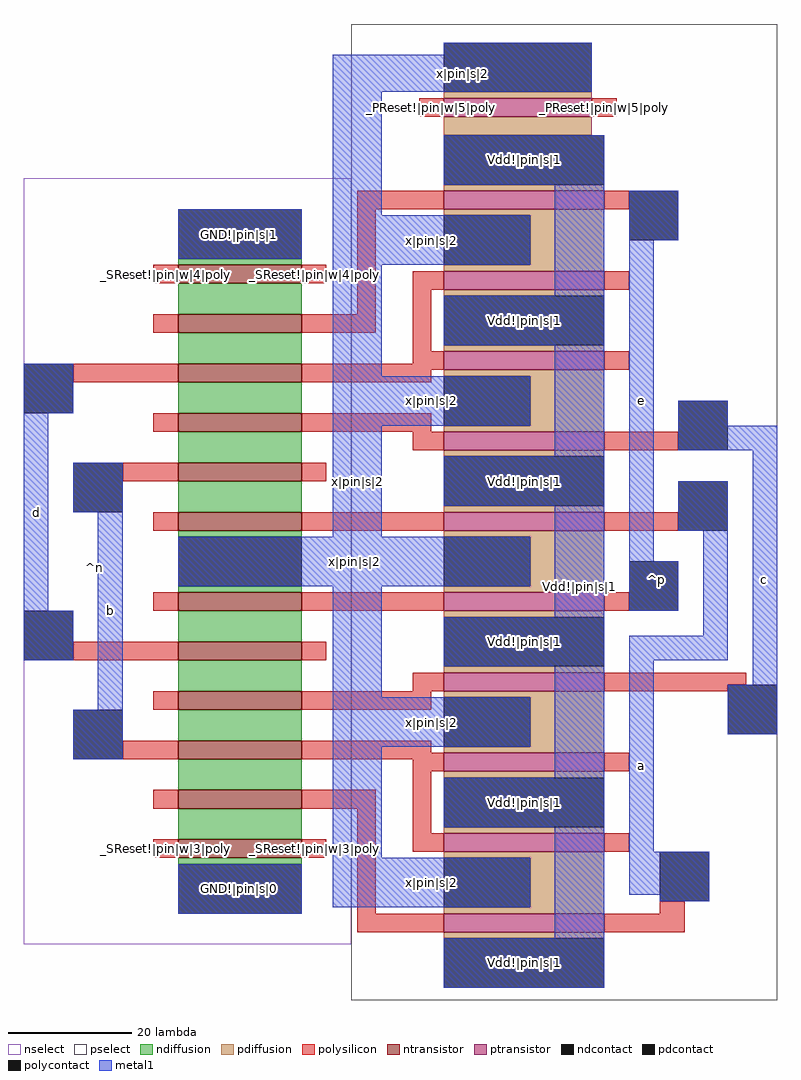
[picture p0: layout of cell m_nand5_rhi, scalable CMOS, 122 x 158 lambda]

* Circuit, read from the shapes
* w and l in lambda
.subckt m_nand5_rhi GND!|pin|s|0 GND!|pin|s|1 Vdd!|pin|s|1 _PReset!|pin|w|5|poly _SReset!|pin|w|3|poly _SReset!|pin|w|4|poly a b c d e x|pin|s|2
M1 n1 _SReset!|pin|w|3|poly GND!|pin|s|0 VSUBS nfet w=20 l=3
M2 n2 a n1 VSUBS nfet w=20 l=3
M3 n3 b n2 VSUBS nfet w=20 l=3
M4 n4 c n3 VSUBS nfet w=20 l=3
M5 n5 d n4 VSUBS nfet w=20 l=3
M6 x|pin|s|2 e n5 VSUBS nfet w=20 l=3
M7 n6 a x|pin|s|2 VSUBS nfet w=20 l=3
M8 n7 b n6 VSUBS nfet w=20 l=3
M9 n8 c n7 VSUBS nfet w=20 l=3
M10 n9 d n8 VSUBS nfet w=20 l=3
M11 n10 e n9 VSUBS nfet w=20 l=3
M12 GND!|pin|s|1 _SReset!|pin|w|4|poly n10 VSUBS nfet w=20 l=3
M13 x|pin|s|2 a Vdd!|pin|s|1 NWELL pfet w=26 l=3 m=2
M14 Vdd!|pin|s|1 b x|pin|s|2 NWELL pfet w=26 l=3 m=2
M15 Vdd!|pin|s|1 c x|pin|s|2 NWELL pfet w=26 l=3 m=2
M16 x|pin|s|2 e Vdd!|pin|s|1 NWELL pfet w=26 l=3 m=2
M17 Vdd!|pin|s|1 d x|pin|s|2 NWELL pfet w=26 l=3 m=2
M18 x|pin|s|2 _PReset!|pin|w|5|poly Vdd!|pin|s|1 NWELL pfet w=24 l=3
.ends

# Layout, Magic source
magic
tech scmos
<< nselect >>
rect -53 -850 0 -726
<< pselect >>
rect 0 -859 69 -701
<< ndiffusion >>
rect -28 -740 -8 -739
rect -28 -748 -8 -743
rect -28 -756 -8 -751
rect -28 -764 -8 -759
rect -28 -772 -8 -767
rect -28 -780 -8 -775
rect -28 -784 -8 -783
rect -28 -793 -8 -792
rect -28 -801 -8 -796
rect -28 -809 -8 -804
rect -28 -817 -8 -812
rect -28 -825 -8 -820
rect -28 -833 -8 -828
rect -28 -837 -8 -836
<< pdiffusion >>
rect 15 -713 39 -712
rect 15 -719 39 -716
rect 15 -728 41 -727
rect 15 -732 41 -731
rect 29 -740 41 -732
rect 15 -741 41 -740
rect 15 -745 41 -744
rect 15 -754 41 -753
rect 15 -758 41 -757
rect 29 -766 41 -758
rect 15 -767 41 -766
rect 15 -771 41 -770
rect 15 -780 41 -779
rect 15 -784 41 -783
rect 29 -792 41 -784
rect 15 -793 41 -792
rect 15 -797 41 -796
rect 15 -806 41 -805
rect 15 -810 41 -809
rect 29 -818 41 -810
rect 15 -819 41 -818
rect 15 -823 41 -822
rect 15 -832 41 -831
rect 15 -836 41 -835
rect 29 -844 41 -836
rect 15 -845 41 -844
rect 15 -849 41 -848
<< ntransistor >>
rect -28 -743 -8 -740
rect -28 -751 -8 -748
rect -28 -759 -8 -756
rect -28 -767 -8 -764
rect -28 -775 -8 -772
rect -28 -783 -8 -780
rect -28 -796 -8 -793
rect -28 -804 -8 -801
rect -28 -812 -8 -809
rect -28 -820 -8 -817
rect -28 -828 -8 -825
rect -28 -836 -8 -833
<< ptransistor >>
rect 15 -716 39 -713
rect 15 -731 41 -728
rect 15 -744 41 -741
rect 15 -757 41 -754
rect 15 -770 41 -767
rect 15 -783 41 -780
rect 15 -796 41 -793
rect 15 -809 41 -806
rect 15 -822 41 -819
rect 15 -835 41 -832
rect 15 -848 41 -845
<< polysilicon >>
rect 11 -716 15 -713
rect 39 -716 43 -713
rect 1 -731 15 -728
rect 41 -731 45 -728
rect -32 -743 -28 -740
rect -8 -743 -4 -740
rect 1 -748 4 -731
rect -32 -751 -28 -748
rect -8 -751 4 -748
rect 10 -744 15 -741
rect 41 -744 45 -741
rect 10 -754 13 -744
rect 10 -756 15 -754
rect -45 -759 -28 -756
rect -8 -757 15 -756
rect 41 -757 45 -754
rect -8 -759 13 -757
rect -32 -767 -28 -764
rect -8 -767 13 -764
rect 10 -770 15 -767
rect 41 -770 53 -767
rect -37 -775 -28 -772
rect -8 -775 -4 -772
rect -32 -783 -28 -780
rect -8 -783 15 -780
rect 41 -783 53 -780
rect -32 -796 -28 -793
rect -8 -796 15 -793
rect 41 -796 45 -793
rect -45 -804 -28 -801
rect -8 -804 -4 -801
rect 10 -809 15 -806
rect 41 -808 64 -806
rect 41 -809 61 -808
rect -32 -812 -28 -809
rect -8 -812 13 -809
rect -37 -820 -28 -817
rect -8 -819 13 -817
rect -8 -820 15 -819
rect 10 -822 15 -820
rect 41 -822 45 -819
rect -32 -828 -28 -825
rect -8 -828 4 -825
rect -32 -836 -28 -833
rect -8 -836 -4 -833
rect 1 -845 4 -828
rect 10 -832 13 -822
rect 10 -835 15 -832
rect 41 -835 45 -832
rect 50 -845 54 -843
rect 1 -848 15 -845
rect 41 -848 54 -845
<< ndcontact >>
rect -28 -739 -8 -731
rect -28 -792 -8 -784
rect -28 -845 -8 -837
<< pdcontact >>
rect 15 -712 39 -704
rect 15 -727 41 -719
rect 15 -740 29 -732
rect 15 -753 41 -745
rect 15 -766 29 -758
rect 15 -779 41 -771
rect 15 -792 29 -784
rect 15 -805 41 -797
rect 15 -818 29 -810
rect 15 -831 41 -823
rect 15 -844 29 -836
rect 15 -857 41 -849
<< polycontact >>
rect 45 -736 53 -728
rect -53 -764 -45 -756
rect 53 -770 61 -762
rect -45 -780 -37 -772
rect 53 -783 61 -775
rect 45 -796 53 -788
rect -53 -804 -45 -796
rect -45 -820 -37 -812
rect 61 -816 69 -808
rect 50 -843 58 -835
<< metal1 >>
rect 15 -706 39 -704
rect -3 -712 39 -706
rect -28 -739 -8 -731
rect -3 -732 5 -712
rect 15 -727 41 -719
rect -3 -740 29 -732
rect -53 -764 -45 -756
rect -3 -758 5 -740
rect 33 -745 41 -727
rect 15 -753 41 -745
rect -53 -796 -49 -764
rect -3 -766 29 -758
rect -45 -780 -37 -772
rect -53 -804 -45 -796
rect -41 -812 -37 -780
rect -3 -784 5 -766
rect 33 -771 41 -753
rect 15 -779 41 -771
rect -28 -792 29 -784
rect -45 -820 -37 -812
rect -3 -810 5 -792
rect 33 -797 41 -779
rect 45 -736 53 -728
rect 45 -788 49 -736
rect 53 -766 61 -762
rect 53 -770 69 -766
rect 53 -783 61 -775
rect 45 -796 53 -788
rect 15 -805 41 -797
rect 57 -800 61 -783
rect -3 -818 29 -810
rect -3 -836 5 -818
rect 33 -823 41 -805
rect 15 -831 41 -823
rect -28 -845 -8 -837
rect -3 -844 29 -836
rect 33 -849 41 -831
rect 45 -804 61 -800
rect 45 -835 49 -804
rect 65 -808 69 -770
rect 61 -816 69 -808
rect 45 -842 58 -835
rect 50 -843 58 -842
rect 15 -857 41 -849
<< labels >>
rlabel metal1 45 -796 49 -728 1 e
rlabel metal1 65 -816 69 -766 1 c
rlabel metal1 45 -842 49 -800 1 a
rlabel metal1 -53 -804 -49 -756 3 d
rlabel metal1 -41 -820 -37 -772 1 b
rlabel space -55 -858 -28 -720 7 ^n
rlabel space 29 -859 70 -723 3 ^p
rlabel metal1 -28 -845 -8 -837 1 GND!|pin|s|0
rlabel metal1 15 -753 41 -745 1 Vdd!|pin|s|1
rlabel metal1 15 -831 41 -823 1 Vdd!|pin|s|1
rlabel metal1 -3 -844 5 -706 1 x|pin|s|2
rlabel metal1 -3 -844 29 -836 1 x|pin|s|2
rlabel metal1 -3 -766 29 -758 1 x|pin|s|2
rlabel metal1 -3 -818 29 -810 1 x|pin|s|2
rlabel metal1 -3 -740 29 -732 1 x|pin|s|2
rlabel metal1 -3 -712 39 -706 1 x|pin|s|2
rlabel metal1 -28 -792 29 -784 1 x|pin|s|2
rlabel polysilicon -32 -836 -28 -833 1 _SReset!|pin|w|3|poly
rlabel polysilicon -8 -836 -4 -833 1 _SReset!|pin|w|3|poly
rlabel polysilicon -32 -743 -28 -740 1 _SReset!|pin|w|4|poly
rlabel polysilicon -8 -743 -4 -740 1 _SReset!|pin|w|4|poly
rlabel polysilicon 11 -716 15 -713 1 _PReset!|pin|w|5|poly
rlabel polysilicon 39 -716 43 -713 1 _PReset!|pin|w|5|poly
rlabel metal1 33 -857 41 -727 1 Vdd!|pin|s|1
rlabel metal1 -28 -739 -8 -731 1 GND!|pin|s|1
rlabel metal1 15 -727 41 -719 1 Vdd!|pin|s|1
rlabel metal1 15 -779 41 -771 1 Vdd!|pin|s|1
rlabel metal1 15 -805 41 -797 1 Vdd!|pin|s|1
rlabel metal1 15 -857 41 -849 1 Vdd!|pin|s|1
<< end >>
